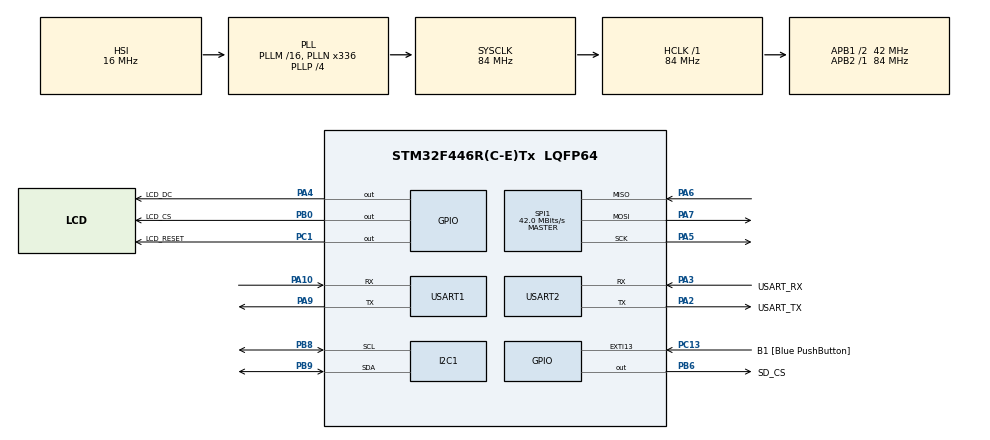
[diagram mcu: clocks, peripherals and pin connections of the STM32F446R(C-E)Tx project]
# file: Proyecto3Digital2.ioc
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Mcu.Family=STM32F4
Mcu.Name=STM32F446R(C-E)Tx
Mcu.Package=LQFP64
NVIC.PriorityGroup=NVIC_PRIORITYGROUP_0
PA10.Mode=Asynchronous
PA10.Signal=USART1_RX
PA13.GPIO_Label=TMS
PA13.Mode=Serial_Wire
PA13.Signal=SYS_JTMS-SWDIO
PA14.GPIO_Label=TCK
PA14.Mode=Serial_Wire
PA14.Signal=SYS_JTCK-SWCLK
PA2.GPIO_Label=USART_TX
PA2.Mode=Asynchronous
PA2.Signal=USART2_TX
PA3.GPIO_Label=USART_RX
PA3.Mode=Asynchronous
PA3.Signal=USART2_RX
PA4.GPIO_Label=LCD_DC
PA4.GPIO_Speed=GPIO_SPEED_FREQ_MEDIUM
PA4.Signal=GPIO_Output
PA5.Mode=Full_Duplex_Master
PA5.Signal=SPI1_SCK
PA6.Mode=Full_Duplex_Master
PA6.Signal=SPI1_MISO
PA7.Mode=Full_Duplex_Master
PA7.Signal=SPI1_MOSI
PA9.Mode=Asynchronous
PA9.Signal=USART1_TX
PB0.GPIO_Label=LCD_CS
PB0.GPIO_Speed=GPIO_SPEED_FREQ_MEDIUM
PB0.Signal=GPIO_Output
PB3.GPIO_Label=SWO
PB3.Signal=SYS_JTDO-SWO
PB6.GPIO_Label=SD_CS
PB6.GPIO_Speed=GPIO_SPEED_FREQ_MEDIUM
PB6.Signal=GPIO_Output
PB8.Mode=I2C
PB8.Signal=I2C1_SCL
PB9.Mode=I2C
PB9.Signal=I2C1_SDA
PC1.GPIO_Label=LCD_RESET
PC1.GPIO_Speed=GPIO_SPEED_FREQ_MEDIUM
PC1.Signal=GPIO_Output
PC13.GPIO_Label=B1 [Blue PushButton]
PC13.GPIO_ModeDefaultEXTI=GPIO_MODE_IT_FALLING
PC13.Signal=GPXTI13
PC14-OSC32_IN.Mode=LSE-External-Oscillator
PC14-OSC32_IN.Signal=RCC_OSC32_IN
PC15-OSC32_OUT.Mode=LSE-External-Oscillator
PC15-OSC32_OUT.Signal=RCC_OSC32_OUT
PH0-OSC_IN.Mode=HSE-External-Oscillator
PH0-OSC_IN.Signal=RCC_OSC_IN
PH1-OSC_OUT.Mode=HSE-External-Oscillator
PH1-OSC_OUT.Signal=RCC_OSC_OUT
ProjectManager.HeapSize=0x200
ProjectManager.StackSize=0x400
ProjectManager.TargetToolchain=STM32CubeIDE
RCC.48MHZClocksFreq_Value=84000000
RCC.AHBFreq_Value=84000000
RCC.APB1CLKDivider=RCC_HCLK_DIV2
RCC.APB1Freq_Value=42000000
RCC.APB1TimFreq_Value=84000000
RCC.APB2Freq_Value=84000000
RCC.APB2TimFreq_Value=84000000
RCC.CortexFreq_Value=84000000
RCC.FLatency-AdvancedSettings=FLASH_LATENCY_2
RCC.HCLKFreq_Value=84000000
RCC.HSE_VALUE=8000000
RCC.HSI_VALUE=16000000
RCC.PLLN=336
RCC.PLLP=RCC_PLLP_DIV4
RCC.SYSCLKFreq_VALUE=84000000
RCC.SYSCLKSource=RCC_SYSCLKSOURCE_PLLCLK
RCC.USBFreq_Value=168000000
RCC.VCOOutputFreq_Value=336000000
SPI1.BaudRatePrescaler=SPI_BAUDRATEPRESCALER_2
SPI1.CalculateBaudRate=42.0 MBits/s
SPI1.Direction=SPI_DIRECTION_2LINES
SPI1.Mode=SPI_MODE_MASTER
SPI1.VirtualType=VM_MASTER
USART1.VirtualMode=VM_ASYNC
USART2.VirtualMode=VM_ASYNC
board=NUCLEO-F446RE

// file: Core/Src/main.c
/* USER CODE BEGIN Header */
/**
 ******************************************************************************
 * @file           : main.c
 * @brief          : Main program body
 ******************************************************************************
 * @attention
 *
 * Copyright (c) 2024 STMicroelectronics.
 * All rights reserved.
 *
 * This software is licensed under terms that can be found in the LICENSE file
 * in the root directory of this software component.
 * If no LICENSE file comes with this software, it is provided AS-IS.
 *
 ******************************************************************************
 */
/* USER CODE END Header */
#include "main.h"

/* USER CODE BEGIN Includes */
#include <string.h>
#include <stdio.h>
#include <math.h>
#include "ili9341.h"
/* USER CODE END Includes */

I2C_HandleTypeDef hi2c1;

SPI_HandleTypeDef hspi1;

UART_HandleTypeDef huart1;
UART_HandleTypeDef huart2;

/* USER CODE BEGIN PV */
extern const uint16_t fondo[];
extern const uint16_t fondo_imagen[76800];

float offset_gx = 0.0f;
float offset_gy = 0.0f;
float offset_gz = 0.0f;

/* USER CODE END PV */

void SystemClock_Config(void);
static void MX_GPIO_Init(void);
static void MX_USART2_UART_Init(void);
static void MX_SPI1_Init(void);
static void MX_USART1_UART_Init(void);
static void MX_I2C1_Init(void);
/* USER CODE BEGIN PFP */
void MPU6050_Calibrar_Giroscopio(void);

void LCD_MostrarFondo(void);
/* USER CODE END PFP */

int main(void)
{

  /* MCU Configuration--------------------------------------------------------*/

  /* Reset of all peripherals, Initializes the Flash interface and the Systick. */
  HAL_Init();

  /* Configure the system clock */
  SystemClock_Config();

  /* Initialize all configured peripherals */
  MX_GPIO_Init();
  MX_USART2_UART_Init();
  MX_SPI1_Init();
  MX_USART1_UART_Init();
  MX_I2C1_Init();
  /* USER CODE BEGIN 2 */

  // Inicializar pantalla TFT
  LCD_Init();

  // Pintar pantalla de azul
  LCD_Clear(0x001F);
  HAL_Delay(1000);

  LCD_MostrarFondo();

  uint8_t despertar = 0x00;

  HAL_StatusTypeDef estado = HAL_I2C_Mem_Write(&hi2c1, 0x68 << 1, 0x6B, I2C_MEMADD_SIZE_8BIT, &despertar, 1, 100);

  // Verificar si la escritura fue exitosa
  if (estado == HAL_OK)
  {
      char texto[] = "Sensor inicializado\r\n";

      HAL_UART_Transmit(&huart2, (uint8_t *)texto, sizeof(texto) - 1, 100);
  }
  else
  {
      char texto[] = "Error al inicializar sensor\r\n";

      HAL_UART_Transmit(&huart2, (uint8_t *)texto, sizeof(texto) - 1, 100);

      Error_Handler();
  }

  // Configurar giroscopio en +/-250 grados/s
  uint8_t gyro_config = 0x00;

  HAL_StatusTypeDef estado_config;

  estado_config = HAL_I2C_Mem_Write(&hi2c1, 0x68 << 1, 0x1B, I2C_MEMADD_SIZE_8BIT, &gyro_config, 1, 100);

  if (estado_config != HAL_OK)
  {
      Error_Handler();
  }

  // Configurar acelerometro en +/-2 g
  uint8_t accel_config = 0x00;

  if (HAL_I2C_Mem_Write(&hi2c1, 0x68 << 1, 0x1C, I2C_MEMADD_SIZE_8BIT, &accel_config, 1, 100) != HAL_OK)
  {
      Error_Handler();
  }

  // Dar tiempo al sensor para estabilizarse
  HAL_Delay(500);

  // Avisar que comenzara la calibracion
  char inicio[] = "Calibrando giroscopio. No mover sensor...\r\n";

  HAL_UART_Transmit(&huart2, (uint8_t *)inicio, sizeof(inicio) - 1, 100);

  // Calibrar
  MPU6050_Calibrar_Giroscopio();

  char fincalibracion[] = "Fin de la calibracion\r\n";

  	    HAL_UART_Transmit(&huart2, (uint8_t *)fincalibracion, strlen(fincalibracion), HAL_MAX_DELAY);

  	    HAL_Delay(2000);

  /* USER CODE END 2 */

  /* Infinite loop */
  /* USER CODE BEGIN WHILE */
	/*while (1) {

	    char mensaje[] = "HOLA";

	    HAL_UART_Transmit(&huart1, (uint8_t *)mensaje, strlen(mensaje), HAL_MAX_DELAY);

	    HAL_Delay(1000);

	}*/
  while (1)
  {
      uint8_t datos[6];

      int16_t Ax, Ay, Az;
      int16_t Gx, Gy, Gz;

      float ax_g, ay_g, az_g;
      float gx_dps, gy_dps, gz_dps;

      float roll, pitch;

      char mensaje[100];

      HAL_StatusTypeDef estado_lectura;

      // Leer los 6 bytes del acelerometro
      estado_lectura = HAL_I2C_Mem_Read(&hi2c1, 0x68 << 1, 0x3B, I2C_MEMADD_SIZE_8BIT, datos, 6, 100);

      if (estado_lectura == HAL_OK)
      {
          // Combinar bytes altos y bajos
          Ax = (int16_t)((datos[0] << 8) | datos[1]);
          Ay = (int16_t)((datos[2] << 8) | datos[3]);
          Az = (int16_t)((datos[4] << 8) | datos[5]);

          // Convertir a unidades de gravedad (g)
          ax_g = Ax / 16384.0f;
          ay_g = Ay / 16384.0f;
          az_g = Az / 16384.0f;

          // Calcular angulos de inclinacion
          roll = atan2f(ay_g, az_g) * 180.0f / 3.14159265f;

          pitch = atan2f(-ax_g, sqrtf(ay_g * ay_g + az_g * az_g)) * 180.0f / 3.14159265f;

          // Preparar mensaje
          snprintf(mensaje, sizeof(mensaje),"Ax: %.2f g | Ay: %.2f g | Az: %.2f g\r\n", ax_g, ay_g, az_g);

          // Enviar al monitor serial
          HAL_UART_Transmit(&huart2, (uint8_t *)mensaje, strlen(mensaje), 100);

          snprintf(mensaje, sizeof(mensaje), "Roll: %.2f grados | Pitch: %.2f grados\r\n", roll, pitch);

          HAL_UART_Transmit(&huart2, (uint8_t *)mensaje, strlen(mensaje), 100);
      }

      // Leer los 6 bytes del giroscopio
            estado_lectura = HAL_I2C_Mem_Read(&hi2c1, 0x68 << 1, 0x43, I2C_MEMADD_SIZE_8BIT, datos, 6, 100);

            if (estado_lectura == HAL_OK)
            {
                // Combinar bytes altos y bajos
                Gx = (int16_t)((datos[0] << 8) | datos[1]);
                Gy = (int16_t)((datos[2] << 8) | datos[3]);
                Gz = (int16_t)((datos[4] << 8) | datos[5]);

                // Convertir a grados por segundo
                gx_dps = (Gx / 131.0f) - offset_gx;
                gy_dps = (Gy / 131.0f) - offset_gy;
                gz_dps = (Gz / 131.0f) - offset_gz;

                // Preparar mensaje
                snprintf(mensaje, sizeof(mensaje),"Gx: %.2f dps | Gy: %.2f dps | Gz: %.2f dps\r\n", gx_dps, gy_dps, gz_dps);

                // Enviar al monitor serial
                HAL_UART_Transmit(&huart2, (uint8_t *)mensaje, strlen(mensaje), 100);
            }
            // Separar cada grupo de mediciones

                char separador[] = "--------------------------\r\n";

                HAL_UART_Transmit(&huart2, (uint8_t *)separador, strlen(separador), 100);

      HAL_Delay(500);
  }
    /* USER CODE END WHILE */

	}

void SystemClock_Config(void)
{
  RCC_OscInitTypeDef RCC_OscInitStruct = {0};
  RCC_ClkInitTypeDef RCC_ClkInitStruct = {0};

  /** Configure the main internal regulator output voltage
  */
  __HAL_RCC_PWR_CLK_ENABLE();
  __HAL_PWR_VOLTAGESCALING_CONFIG(PWR_REGULATOR_VOLTAGE_SCALE3);

  /** Initializes the RCC Oscillators according to the specified parameters
  * in the RCC_OscInitTypeDef structure.
  */
  RCC_OscInitStruct.OscillatorType = RCC_OSCILLATORTYPE_HSI;
  RCC_OscInitStruct.HSIState = RCC_HSI_ON;
  RCC_OscInitStruct.HSICalibrationValue = RCC_HSICALIBRATION_DEFAULT;
  RCC_OscInitStruct.PLL.PLLState = RCC_PLL_ON;
  RCC_OscInitStruct.PLL.PLLSource = RCC_PLLSOURCE_HSI;
  RCC_OscInitStruct.PLL.PLLM = 16;
  RCC_OscInitStruct.PLL.PLLN = 336;
  RCC_OscInitStruct.PLL.PLLP = RCC_PLLP_DIV4;
  RCC_OscInitStruct.PLL.PLLQ = 2;
  RCC_OscInitStruct.PLL.PLLR = 2;
  if (HAL_RCC_OscConfig(&RCC_OscInitStruct) != HAL_OK)
  {
    Error_Handler();
  }

  /** Initializes the CPU, AHB and APB buses clocks
  */
  RCC_ClkInitStruct.ClockType = RCC_CLOCKTYPE_HCLK|RCC_CLOCKTYPE_SYSCLK
                              |RCC_CLOCKTYPE_PCLK1|RCC_CLOCKTYPE_PCLK2;
  RCC_ClkInitStruct.SYSCLKSource = RCC_SYSCLKSOURCE_PLLCLK;
  RCC_ClkInitStruct.AHBCLKDivider = RCC_SYSCLK_DIV1;
  RCC_ClkInitStruct.APB1CLKDivider = RCC_HCLK_DIV2;
  RCC_ClkInitStruct.APB2CLKDivider = RCC_HCLK_DIV1;

  if (HAL_RCC_ClockConfig(&RCC_ClkInitStruct, FLASH_LATENCY_2) != HAL_OK)
  {
    Error_Handler();
  }
}

static void MX_I2C1_Init(void)
{

  hi2c1.Instance = I2C1;
  hi2c1.Init.ClockSpeed = 100000;
  hi2c1.Init.DutyCycle = I2C_DUTYCYCLE_2;
  hi2c1.Init.OwnAddress1 = 0;
  hi2c1.Init.AddressingMode = I2C_ADDRESSINGMODE_7BIT;
  hi2c1.Init.DualAddressMode = I2C_DUALADDRESS_DISABLE;
  hi2c1.Init.OwnAddress2 = 0;
  hi2c1.Init.GeneralCallMode = I2C_GENERALCALL_DISABLE;
  hi2c1.Init.NoStretchMode = I2C_NOSTRETCH_DISABLE;
  if (HAL_I2C_Init(&hi2c1) != HAL_OK)
  {
    Error_Handler();
  }

}

static void MX_SPI1_Init(void)
{

  /* SPI1 parameter configuration*/
  hspi1.Instance = SPI1;
  hspi1.Init.Mode = SPI_MODE_MASTER;
  hspi1.Init.Direction = SPI_DIRECTION_2LINES;
  hspi1.Init.DataSize = SPI_DATASIZE_8BIT;
  hspi1.Init.CLKPolarity = SPI_POLARITY_LOW;
  hspi1.Init.CLKPhase = SPI_PHASE_1EDGE;
  hspi1.Init.NSS = SPI_NSS_SOFT;
  hspi1.Init.BaudRatePrescaler = SPI_BAUDRATEPRESCALER_2;
  hspi1.Init.FirstBit = SPI_FIRSTBIT_MSB;
  hspi1.Init.TIMode = SPI_TIMODE_DISABLE;
  hspi1.Init.CRCCalculation = SPI_CRCCALCULATION_DISABLE;
  hspi1.Init.CRCPolynomial = 10;
  if (HAL_SPI_Init(&hspi1) != HAL_OK)
  {
    Error_Handler();
  }

}

static void MX_USART1_UART_Init(void)
{

  huart1.Instance = USART1;
  huart1.Init.BaudRate = 115200;
  huart1.Init.WordLength = UART_WORDLENGTH_8B;
  huart1.Init.StopBits = UART_STOPBITS_1;
  huart1.Init.Parity = UART_PARITY_NONE;
  huart1.Init.Mode = UART_MODE_TX_RX;
  huart1.Init.HwFlowCtl = UART_HWCONTROL_NONE;
  huart1.Init.OverSampling = UART_OVERSAMPLING_16;
  if (HAL_UART_Init(&huart1) != HAL_OK)
  {
    Error_Handler();
  }

}

static void MX_USART2_UART_Init(void)
{

  huart2.Instance = USART2;
  huart2.Init.BaudRate = 115200;
  huart2.Init.WordLength = UART_WORDLENGTH_8B;
  huart2.Init.StopBits = UART_STOPBITS_1;
  huart2.Init.Parity = UART_PARITY_NONE;
  huart2.Init.Mode = UART_MODE_TX_RX;
  huart2.Init.HwFlowCtl = UART_HWCONTROL_NONE;
  huart2.Init.OverSampling = UART_OVERSAMPLING_16;
  if (HAL_UART_Init(&huart2) != HAL_OK)
  {
    Error_Handler();
  }

}

static void MX_GPIO_Init(void)
{
  GPIO_InitTypeDef GPIO_InitStruct = {0};

  /* GPIO Ports Clock Enable */
  __HAL_RCC_GPIOC_CLK_ENABLE();
  __HAL_RCC_GPIOH_CLK_ENABLE();
  __HAL_RCC_GPIOA_CLK_ENABLE();
  __HAL_RCC_GPIOB_CLK_ENABLE();

  /*Configure GPIO pin Output Level */
  HAL_GPIO_WritePin(LCD_RESET_GPIO_Port, LCD_RESET_Pin, GPIO_PIN_RESET);

  /*Configure GPIO pin Output Level */
  HAL_GPIO_WritePin(LCD_DC_GPIO_Port, LCD_DC_Pin, GPIO_PIN_RESET);

  /*Configure GPIO pin Output Level */
  HAL_GPIO_WritePin(GPIOB, LCD_CS_Pin|SD_CS_Pin, GPIO_PIN_RESET);

  /*Configure GPIO pin : B1_Pin */
  GPIO_InitStruct.Pin = B1_Pin;
  GPIO_InitStruct.Mode = GPIO_MODE_IT_FALLING;
  GPIO_InitStruct.Pull = GPIO_NOPULL;
  HAL_GPIO_Init(B1_GPIO_Port, &GPIO_InitStruct);

  /*Configure GPIO pin : LCD_RESET_Pin */
  GPIO_InitStruct.Pin = LCD_RESET_Pin;
  GPIO_InitStruct.Mode = GPIO_MODE_OUTPUT_PP;
  GPIO_InitStruct.Pull = GPIO_NOPULL;
  GPIO_InitStruct.Speed = GPIO_SPEED_FREQ_MEDIUM;
  HAL_GPIO_Init(LCD_RESET_GPIO_Port, &GPIO_InitStruct);

  /*Configure GPIO pin : LCD_DC_Pin */
  GPIO_InitStruct.Pin = LCD_DC_Pin;
  GPIO_InitStruct.Mode = GPIO_MODE_OUTPUT_PP;
  GPIO_InitStruct.Pull = GPIO_NOPULL;
  GPIO_InitStruct.Speed = GPIO_SPEED_FREQ_MEDIUM;
  HAL_GPIO_Init(LCD_DC_GPIO_Port, &GPIO_InitStruct);

  /*Configure GPIO pins : LCD_CS_Pin SD_CS_Pin */
  GPIO_InitStruct.Pin = LCD_CS_Pin|SD_CS_Pin;
  GPIO_InitStruct.Mode = GPIO_MODE_OUTPUT_PP;
  GPIO_InitStruct.Pull = GPIO_NOPULL;
  GPIO_InitStruct.Speed = GPIO_SPEED_FREQ_MEDIUM;
  HAL_GPIO_Init(GPIOB, &GPIO_InitStruct);

}

/* USER CODE BEGIN 4 */

void LCD_MostrarFondo(void)
{
    uint16_t color;

    SetWindows(0, 0, 319, 239);

    for (uint32_t i = 0; i < 76800; i++)
    {
        color = fondo_imagen[i];

        LCD_DATA(color >> 8);
        LCD_DATA(color & 0xFF);
    }
}

void MPU6050_Calibrar_Giroscopio(void)
{
    uint8_t datos[6];

    int16_t Gx, Gy, Gz;

    int32_t suma_gx = 0;
    int32_t suma_gy = 0;
    int32_t suma_gz = 0;

    uint16_t muestras_validas = 0;

    for (int i = 0; i < 500; i++)
    {
        HAL_StatusTypeDef estado;

        estado = HAL_I2C_Mem_Read(&hi2c1, 0x68 << 1, 0x43, I2C_MEMADD_SIZE_8BIT, datos, 6, 100);

        if (estado == HAL_OK)
        {
            Gx = (int16_t)((datos[0] << 8) | datos[1]);
            Gy = (int16_t)((datos[2] << 8) | datos[3]);
            Gz = (int16_t)((datos[4] << 8) | datos[5]);

            suma_gx += Gx;
            suma_gy += Gy;
            suma_gz += Gz;

            muestras_validas++;
        }

        HAL_Delay(5);
    }

    if (muestras_validas >= 450)
    {
        offset_gx = ((float)suma_gx / muestras_validas) / 131.0f;
        offset_gy = ((float)suma_gy / muestras_validas) / 131.0f;
        offset_gz = ((float)suma_gz / muestras_validas) / 131.0f;
    }
    else
    {
        Error_Handler();
    }
}

/* USER CODE END 4 */

void Error_Handler(void)
{
	__disable_irq();
	while (1) {
	}
}
